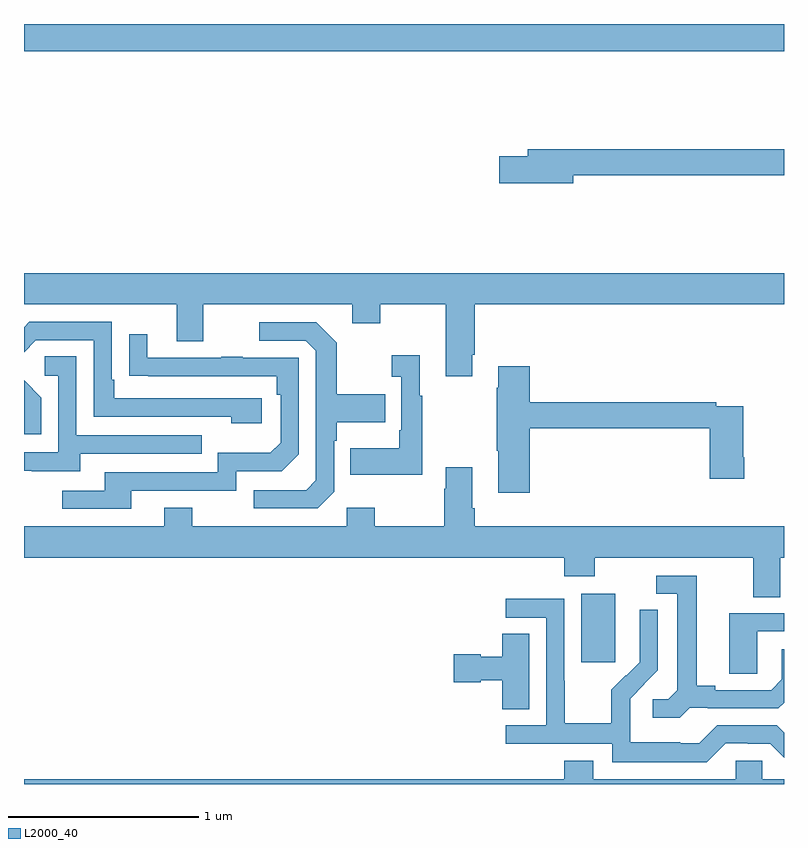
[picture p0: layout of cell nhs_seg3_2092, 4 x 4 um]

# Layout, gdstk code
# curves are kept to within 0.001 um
import gdstk
lib = gdstk.Library(unit=1e-6, precision=1e-09)
def R(c, l, rs):  # rectangles x0, y0, x1, y1
    for r in rs: c.add(gdstk.rectangle(r[:2], r[2:], *l))
def P(c, l, *ps):  # polygons
    for p in ps: c.add(gdstk.Polygon(p, *l))
L2000_40 = (2000, 40)

nhs_seg3_2092 = lib.new_cell('nhs_seg3_2092')
R(nhs_seg3_2092, L2000_40, [(221.933,691.041,222.112,691.402), (219,694.256,223,694.4)])
P(nhs_seg3_2092, L2000_40, [(221.89,693.604),(223,693.604),(223,693.74),(221.651,693.74),(221.651,693.704),(221.502,693.704),(221.502,693.562),(221.89,693.562)],
  [(221.359,692.659),(221.372,692.659),(221.372,692.924),(223,692.924),(223,693.088),(219,693.088),(219,692.924),(219.803,692.924),(219.803,692.73),(219.943,692.73),(219.943,692.924),(220.727,692.924),(220.727,692.825),(220.875,692.825),(220.875,692.924),(221.219,692.924),(221.219,692.547),(221.359,692.547)],
  [(220.252,692.43),(219.475,692.43),(219.475,692.527),(219.462,692.527),(219.462,692.832),(219.027,692.832),(219,692.805),(219,692.673),(219.063,692.736),(219.366,692.736),(219.366,692.334),(220.091,692.334),(220.091,692.3),(220.252,692.3)],
  [(220.632,691.938),(220.632,692.207),(220.645,692.207),(220.645,692.303),(220.901,692.303),(220.901,692.451),(220.645,692.451),(220.645,692.723),(220.539,692.829),(220.239,692.829),(220.239,692.733),(220.482,692.733),(220.536,692.679),(220.536,691.998),(220.485,691.947),(220.209,691.947),(220.209,691.851),(220.545,691.851)],
  [(219.565,691.944),(220.116,691.944),(220.116,692.046),(220.356,692.046),(220.446,692.136),(220.446,692.643),(220.151,692.643),(220.151,692.648),(220.039,692.648),(220.039,692.643),(219.649,692.643),(219.649,692.767),(219.553,692.767),(219.553,692.548),(220.33,692.547),(220.33,692.45),(220.35,692.45),(220.35,692.196),(220.297,692.143),(220.02,692.143),(220.02,692.04),(219.425,692.04),(219.425,691.944),(219.201,691.944),(219.201,691.848),(219.565,691.848)],
  [(221.095,692.443),(221.083,692.443),(221.083,692.656),(220.935,692.656),(220.935,692.543),(220.986,692.543),(220.986,692.263),(220.974,692.263),(220.974,692.167),(220.717,692.167),(220.717,692.027),(221.095,692.027)],
  [(219.295,692.139),(219.935,692.139),(219.935,692.235),(219.276,692.235),(219.276,692.651),(219.108,692.651),(219.108,692.55),(219.18,692.55),(219.18,692.145),(219,692.145),(219,692.049),(219.041,692.049),(219.041,692.045),(219.295,692.045)],
  [(221.663,692.272),(222.608,692.272),(222.608,692.007),(222.791,692.007),(222.791,692.119),(222.786,692.119),(222.786,692.388),(222.644,692.388),(222.644,692.408),(221.663,692.408),(221.663,692.599),(221.495,692.599),(221.495,692.486),(221.488,692.486),(221.488,692.155),(221.495,692.155),(221.495,691.932),(221.663,691.932)],
  [(219.09,692.434),(219,692.524),(219,692.241),(219.09,692.241)],
  [(222.979,691.592),(223,691.592),(223,691.756),(221.372,691.756),(221.372,691.852),(221.359,691.852),(221.359,692.068),(221.219,692.068),(221.219,691.955),(221.212,691.955),(221.212,691.756),(220.845,691.756),(220.845,691.855),(220.698,691.855),(220.698,691.756),(219.885,691.756),(219.885,691.855),(219.737,691.855),(219.737,691.756),(219,691.756),(219,691.592),(221.843,691.592),(221.843,691.493),(222.003,691.493),(222.003,691.592),(222.839,691.592),(222.839,691.384),(222.979,691.384)],
  [(222.504,690.801),(222.598,690.801),(222.598,690.798),(222.97,690.798),(223,690.828),(223,691.108),(222.989,691.108),(222.989,690.951),(222.932,690.894),(222.637,690.894),(222.637,690.917),(222.541,690.917),(222.541,691.497),(222.327,691.497),(222.327,691.401),(222.437,691.401),(222.437,690.893),(222.39,690.846),(222.309,690.846),(222.309,690.749),(222.452,690.749)],
  [(222.693,690.615),(222.809,690.615),(222.809,690.612),(222.927,690.612),(223,690.539),(223,690.671),(222.963,690.708),(222.648,690.708),(222.555,690.615),(222.455,690.615),(222.455,690.619),(222.192,690.619),(222.192,690.753),(222.19,690.753),(222.19,690.85),(222.336,690.998),(222.336,691.316),(222.24,691.316),(222.24,691.162),(222.242,691.162),(222.242,691.04),(222.171,690.969),(222.168,690.972),(222.091,690.895),(222.091,690.721),(221.847,690.721),(221.847,690.944),(221.844,690.944),(221.844,691.374),(221.535,691.374),(221.535,691.275),(221.748,691.275),(221.748,690.708),(221.535,690.708),(221.535,690.612),(222.096,690.612),(222.096,690.515),(222.593,690.515)],
  [(222.858,691.203),(223,691.203),(223,691.299),(222.713,691.299),(222.713,690.979),(222.858,690.979)],
  [(221.659,691.19),(221.516,691.19),(221.516,691.069),(221.403,691.069),(221.403,691.082),(221.262,691.082),(221.262,690.935),(221.403,690.935),(221.403,690.947),(221.516,690.947),(221.516,690.793),(221.659,690.793)],
  [(223,690.424),(222.885,690.424),(222.885,690.522),(222.747,690.522),(222.747,690.424),(221.995,690.424),(221.995,690.523),(221.843,690.523),(221.843,690.424),(219,690.424),(219,690.4),(223,690.4)])

lib.write_gds('nhs_seg3_2092.gds')
